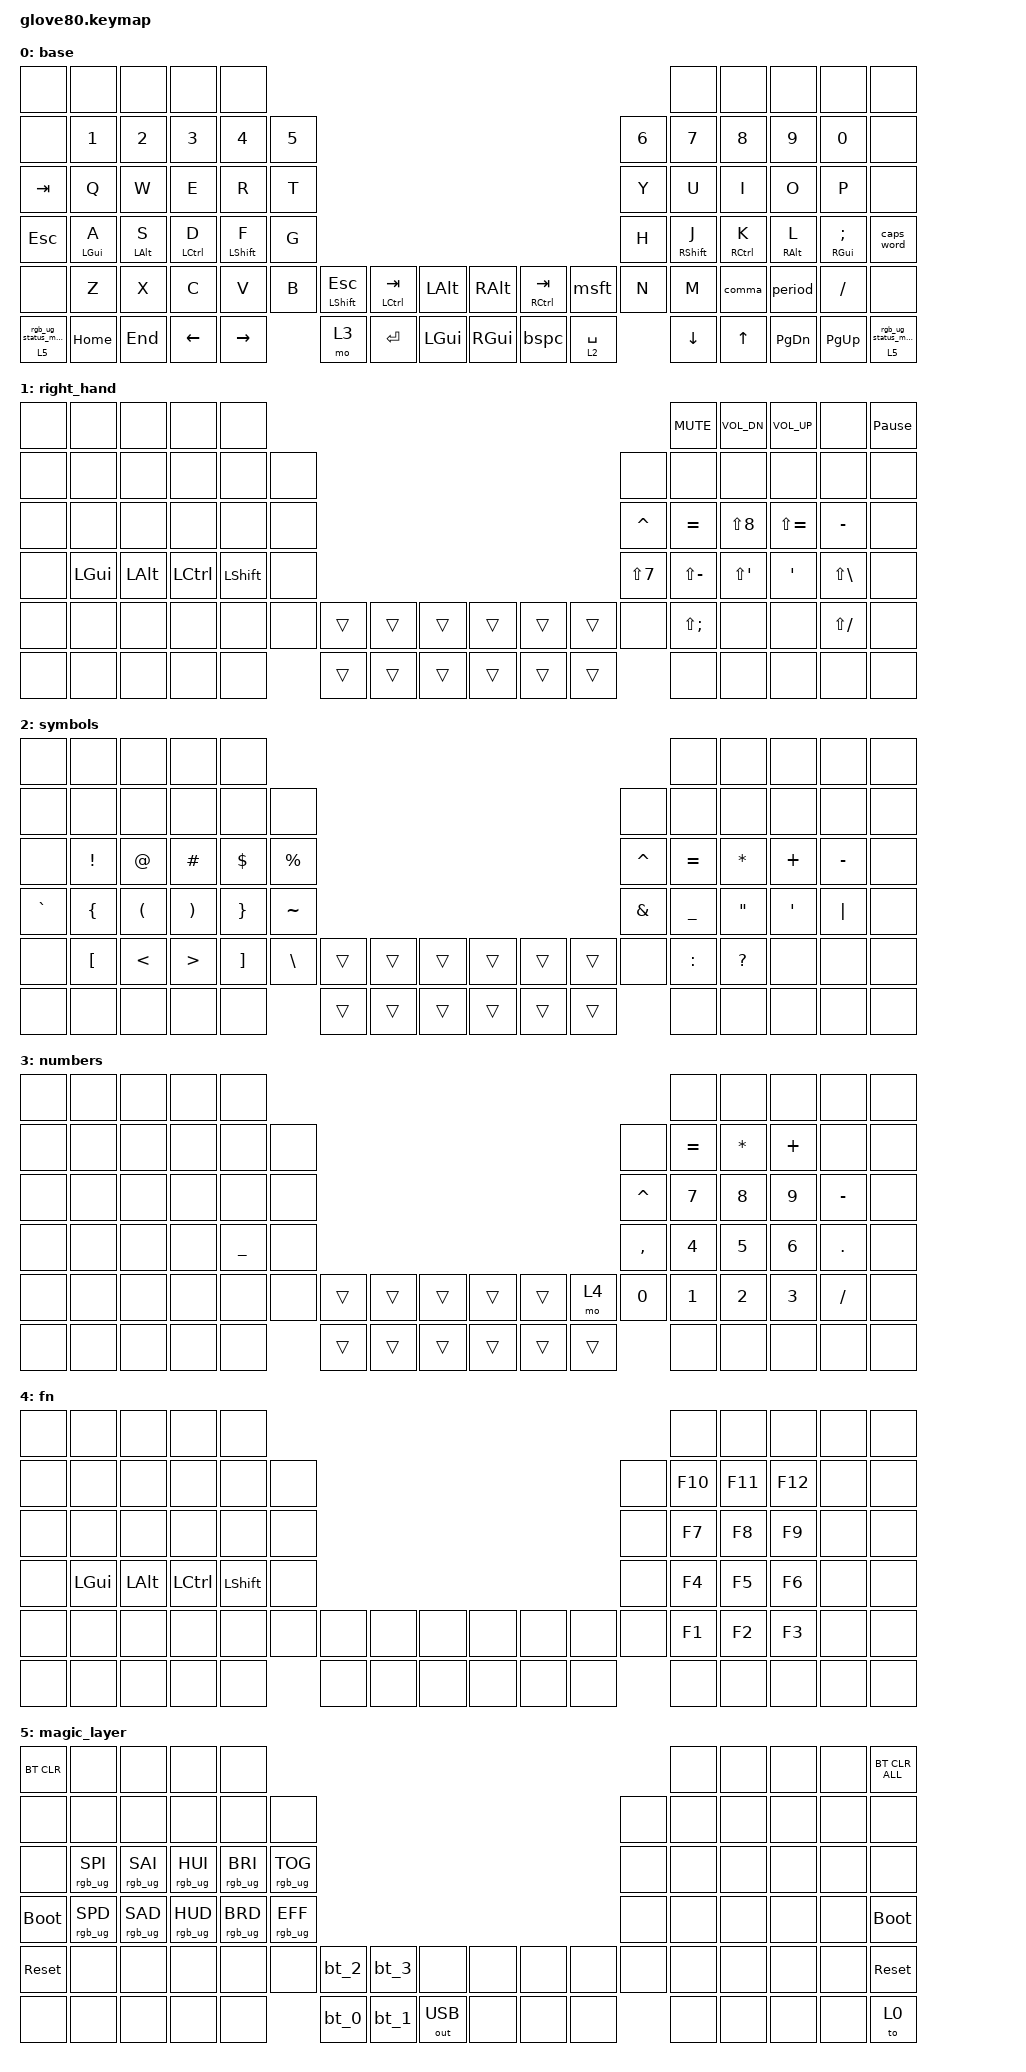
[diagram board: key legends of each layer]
#include <behaviors.dtsi>
#include <dt-bindings/zmk/bt.h>
#include <dt-bindings/zmk/keys.h>
#include <dt-bindings/zmk/outputs.h>
#include <dt-bindings/zmk/rgb.h>

/* Empty Layer Template
layer_name {
    bindings = <
    &none &none &none &none &none                                                 &none &none &none &none &none
    &none &none &none &none &none &none                                     &none &none &none &none &none &none
    &none &none &none &none &none &none                                     &none &none &none &none &none &none
    &none &none &none &none &none &none                                     &none &none &none &none &none &none
    &none &none &none &none &none &none &none &none &none &none &none &none &none &none &none &none &none &none
    &none &none &none &none &none       &none &none &none &none &none &none &none &none &none &none &none
    >;
};
*/
// Glove80 key positions index for positional hold-tap
// - https://discord.com/channels/877392805654306816/937645688244826154/1066713913351221248
// - https://media.discordapp.net/attachments/937645688244826154/1066713913133121556/image.png
//
// |------------------------|------------------------|
// | LEFT_HAND_KEYS         |        RIGHT_HAND_KEYS |
// |                        |                        |
// |  0  1  2  3  4         |          5  6  7  8  9 |
// | 10 11 12 13 14 15      |      16 17 18 19 20 21 |
// | 22 23 24 25 26 27      |      28 29 30 31 32 33 |
// | 34 35 36 37 38 39      |      40 41 42 43 44 45 |
// | 46 47 48 49 50 51      |      58 59 60 61 62 63 |
// | 64 65 66 67 68         |         75 76 77 78 79 |
// |                69 52   |   57 74                |
// |                 70 53  |  56 73                 |
// |                  71 54 | 55 72                  |
// |------------------------|------------------------|
//

#define LEFT_HAND_KEYS      \
      0  1  2  3  4         \
      10 11 12 13 14 15      \
      22 23 24 25 26 27      \
      34 35 36 37 38 39      \
      46 47 48 49 50 51      \
      64 65 66 67 68
#define THUMB_KEYS          \
                    69 52       57 74                \
                      70 53     56 73                 \
                      71 54   55 72
#define RIGHT_HAND_KEYS     \
                                      5  6  7  8  9 \
                                  16 17 18 19 20 21 \
                                  28 29 30 31 32 33 \
                                  40 41 42 43 44 45 \
                                  58 59 60 61 62 63 \
                                    75 76 77 78 79
#define LEADER LC(LG(LALT))

// layers

#define LBASE 0
#define LRHS 1
#define LLHS 2
#define LNUM 3
#define MAGIC 4
#define FACTORY_TEST 5

&caps_word { mods = <(MOD_LSFT|MOD_RSFT)>; };

/ {
    behaviors {
        magic: magic_hold_tap {
            compatible = "zmk,behavior-hold-tap";
            label = "MAGIC_HOLD_TAP";
            #binding-cells = <2>;
            flavor = "tap-preferred";
            tapping-term-ms = <200>;
            bindings = <&mo>, <&rgb_ug_status_macro>;
        };

        lhs_tap: left_hand_layer_tap {
            compatible = "zmk,behavior-hold-tap";
            #binding-cells = <2>;
            flavor = "tap-preferred";
            tapping-term-ms = <180>;
            bindings = <&mo>, <&kp>;
        };

        lhm: left_homerow_mod {
            compatible = "zmk,behavior-hold-tap";
            #binding-cells = <2>;
            flavor = "balanced";
            tapping-term-ms = <170>;
            quick-tap-ms = <170>;
            require-prior-idle-ms = <125>;
            bindings = <&kp>, <&kp>;

            hold-trigger-key-positions = <RIGHT_HAND_KEYS THUMB_KEYS>;
        };

        lhmi: left_homerow_mod_index_finger {
            compatible = "zmk,behavior-hold-tap";
            #binding-cells = <2>;
            flavor = "balanced";
            tapping-term-ms = <170>;
            quick-tap-ms = <170>;
            bindings = <&kp>, <&kp>;

            hold-trigger-key-positions = <RIGHT_HAND_KEYS THUMB_KEYS>;
        };

        lhmm: left_homerow_mod_middle_finger {
            compatible = "zmk,behavior-hold-tap";
            #binding-cells = <2>;
            flavor = "tap-preferred";
            tapping-term-ms = <200>;
            quick-tap-ms = <200>;
            require-prior-idle-ms = <125>;
            bindings = <&kp>, <&kp>;

            hold-trigger-key-positions = <RIGHT_HAND_KEYS THUMB_KEYS>;
        };

        lhmr: left_homerow_mod_ring_finger {
            compatible = "zmk,behavior-hold-tap";
            #binding-cells = <2>;
            flavor = "tap-preferred";
            tapping-term-ms = <200>;
            quick-tap-ms = <200>;
            require-prior-idle-ms = <125>;
            bindings = <&kp>, <&kp>;

            hold-trigger-key-positions = <RIGHT_HAND_KEYS THUMB_KEYS>;
        };

        lhmp: left_homerow_mod_pinky_finger {
            compatible = "zmk,behavior-hold-tap";
            #binding-cells = <2>;
            flavor = "tap-preferred";
            tapping-term-ms = <200>;
            quick-tap-ms = <200>;
            require-prior-idle-ms = <125>;
            bindings = <&kp>, <&kp>;

            hold-trigger-key-positions = <RIGHT_HAND_KEYS THUMB_KEYS>;
        };

        rhm: right_homerow_mod {
            compatible = "zmk,behavior-hold-tap";
            #binding-cells = <2>;
            flavor = "balanced";
            tapping-term-ms = <170>;
            quick-tap-ms = <170>;
            require-prior-idle-ms = <125>;
            bindings = <&kp>, <&kp>;

            hold-trigger-key-positions = <LEFT_HAND_KEYS THUMB_KEYS>;
        };

        rhmi: right_homerow_mod_index_finger {
            compatible = "zmk,behavior-hold-tap";
            #binding-cells = <2>;
            flavor = "balanced";
            tapping-term-ms = <170>;
            quick-tap-ms = <170>;
            bindings = <&kp>, <&kp>;

            hold-trigger-key-positions = <LEFT_HAND_KEYS THUMB_KEYS>;
        };

        rhmm: right_homerow_mod_middle_finger {
            compatible = "zmk,behavior-hold-tap";
            #binding-cells = <2>;
            flavor = "tap-preferred";
            tapping-term-ms = <200>;
            quick-tap-ms = <200>;
            require-prior-idle-ms = <125>;
            bindings = <&kp>, <&kp>;

            hold-trigger-key-positions = <LEFT_HAND_KEYS THUMB_KEYS>;
        };

        rhmr: right_homerow_mod_ring_finger {
            compatible = "zmk,behavior-hold-tap";
            #binding-cells = <2>;
            flavor = "tap-preferred";
            tapping-term-ms = <200>;
            quick-tap-ms = <200>;
            require-prior-idle-ms = <125>;
            bindings = <&kp>, <&kp>;

            hold-trigger-key-positions = <LEFT_HAND_KEYS THUMB_KEYS>;
        };

        rhmp: right_homerow_mod_pinky_finger {
            compatible = "zmk,behavior-hold-tap";
            #binding-cells = <2>;
            flavor = "tap-preferred";
            tapping-term-ms = <200>;
            quick-tap-ms = <200>;
            require-prior-idle-ms = <125>;
            bindings = <&kp>, <&kp>;

            hold-trigger-key-positions = <LEFT_HAND_KEYS THUMB_KEYS>;
        };

        msft: multi_shift {
            compatible = "zmk,behavior-tap-dance";
            #binding-cells = <0>;
            tapping-term-ms = <250>;
            bindings = <&kp RIGHT_SHIFT>, <&kp CAPSLOCK>;
        };

        mt250: mod_tap_250 {
            compatible = "zmk,behavior-hold-tap";
            #binding-cells = <2>;
            tapping-term-ms = <250>;
            bindings = <&kp>, <&kp>;
        };

        bspc: backspace_delete {
            compatible = "zmk,behavior-mod-morph";
            label = "BACKSPACE_DELETE";
            bindings = <&kp BACKSPACE>, <&kp DELETE>;

            #binding-cells = <0>;
            mods = <(MOD_LSFT|MOD_RSFT)>;
        };

        comma: comma {
            compatible = "zmk,behavior-mod-morph";
            label = "COMMA";
            bindings = <&kp COMMA>, <&kp SQT>;

            #binding-cells = <0>;
            mods = <(MOD_LSFT|MOD_RSFT)>;
        };

        period: period {
            compatible = "zmk,behavior-mod-morph";
            label = "PERIOD";
            bindings = <&kp PERIOD>, <&kp DQT>;

            #binding-cells = <0>;
            mods = <(MOD_LSFT|MOD_RSFT)>;
        };
    };

    macros {
        rgb_ug_status_macro: rgb_ug_status_macro_0 {
            label = "RGB_UG_STATUS";
            compatible = "zmk,behavior-macro";
            #binding-cells = <0>;
            bindings = <&rgb_ug RGB_STATUS>;
        };

        bt_0: bt_profile_macro_0 {
            label = "BT_0";
            compatible = "zmk,behavior-macro";
            #binding-cells = <0>;
            bindings = <&out OUT_BLE &bt BT_SEL 0>;
        };

        bt_1: bt_profile_macro_1 {
            label = "BT_1";
            compatible = "zmk,behavior-macro";
            #binding-cells = <0>;
            bindings = <&out OUT_BLE &bt BT_SEL 1>;
        };

        bt_2: bt_profile_macro_2 {
            label = "BT_2";
            compatible = "zmk,behavior-macro";
            #binding-cells = <0>;
            bindings = <&out OUT_BLE &bt BT_SEL 2>;
        };

        bt_3: bt_profile_macro_3 {
            label = "BT_3";
            compatible = "zmk,behavior-macro";
            #binding-cells = <0>;
            bindings = <&out OUT_BLE &bt BT_SEL 3>;
        };
    };

    keymap {
        compatible = "zmk,keymap";

        base {
            bindings = <
&none       &none         &none         &none          &none                                                                                                                &none          &none          &none              &none                      &none
&none       &kp N1        &kp N2        &kp N3         &kp N4         &kp N5                                                                                        &kp N6  &kp N7         &kp N8         &kp N9             &kp N0                     &none
&kp TAB     &kp Q         &kp W         &kp E          &kp R          &kp T                                                                                         &kp Y   &kp U          &kp I          &kp O              &kp P                      &none
&kp ESC     &lhmp LGUI A  &lhmr LALT S  &lhmm LCTRL D  &lhmi LSHFT F  &kp G                                                                                         &kp H   &rhmi RSHFT J  &rhmm RCTRL K  &rhmr RIGHT_ALT L  &rhmp RIGHT_GUI SEMICOLON  &caps_word
&none       &kp Z         &kp X         &kp C          &kp V          &kp B   &mt LSHIFT ESC  &mt LCTRL TAB  &kp LALT    &kp RALT  &mt RCTRL TAB  &msft             &kp N   &kp M          &comma         &period            &kp SLASH                  &none
&magic 5 0  &kp HOME      &kp END       &kp LEFT       &kp RIGHT              &mo 3           &kp ENTER      &kp LGUI    &kp RGUI  &bspc          &lhs_tap 2 SPACE          &kp DOWN       &kp UP         &kp PAGE_DOWN      &kp PG_UP                  &magic 5 0
            >;
        };

        right_hand {
            bindings = <
&none  &none     &none     &none      &none                                                                           &kp C_MUTE         &kp C_VOL_DN  &kp C_VOL_UP   &none          &kp PAUSE_BREAK
&none  &none     &none     &none      &none      &none                                                    &none       &none              &none         &none          &none          &none
&none  &none     &none     &none      &none      &none                                                    &kp CARET   &kp EQUAL          &kp LS(N8)    &kp LS(EQUAL)  &kp MINUS      &none
&none  &kp LGUI  &kp LALT  &kp LCTRL  &kp LSHFT  &none                                                    &kp LS(N7)  &kp LS(MINUS)      &kp LS(SQT)   &kp SQT        &kp LS(BSLH)   &none
&none  &none     &none     &none      &none      &none  &trans  &trans  &trans    &trans  &trans  &trans  &none       &kp LS(SEMICOLON)  &none         &none          &kp LS(SLASH)  &none
&none  &none     &none     &none      &none             &trans  &trans  &trans    &trans  &trans  &trans              &none              &none         &none          &none          &none
            >;
        };

        symbols {
            bindings = <
&none      &none     &none     &none     &none                                                                             &none      &none         &none     &none      &none
&none      &none     &none     &none     &none     &none                                                        &none      &none      &none         &none     &none      &none
&none      &kp EXCL  &kp AT    &kp HASH  &kp DLLR  &kp PRCNT                                                    &kp CARET  &kp EQUAL  &kp ASTERISK  &kp PLUS  &kp MINUS  &none
&kp GRAVE  &kp LBRC  &kp LPAR  &kp RPAR  &kp RBRC  &kp TILDE                                                    &kp AMPS   &kp UNDER  &kp DQT       &kp SQT   &kp PIPE   &none
&none      &kp LBKT  &kp LT    &kp GT    &kp RBKT  &kp BSLH   &trans  &trans  &trans    &trans  &trans  &trans  &none      &kp COLON  &kp QMARK     &none     &none      &none
&none      &none     &none     &none     &none                &trans  &trans  &trans    &trans  &trans  &trans             &none      &none         &none     &none      &none
            >;
        };

        numbers {
            bindings = <
&none  &none  &none  &none  &none                                                                          &none      &none     &none     &none      &none
&none  &none  &none  &none  &none      &none                                                    &none      &kp EQUAL  &kp STAR  &kp PLUS  &none      &none
&none  &none  &none  &none  &none      &none                                                    &kp CARET  &kp N7     &kp N8    &kp N9    &kp MINUS  &none
&none  &none  &none  &none  &kp UNDER  &none                                                    &kp COMMA  &kp N4     &kp N5    &kp N6    &kp DOT    &none
&none  &none  &none  &none  &none      &none  &trans  &trans  &trans    &trans  &trans  &mo 4   &kp N0     &kp N1     &kp N2    &kp N3    &kp FSLH   &none
&none  &none  &none  &none  &none             &trans  &trans  &trans    &trans  &trans  &trans             &none      &none     &none     &none      &none
            >;
        };

        fn {
            bindings = <
&none  &none     &none         &none      &none                                                                &none    &none    &none    &none  &none
&none  &none     &none         &none      &none      &none                                              &none  &kp F10  &kp F11  &kp F12  &none  &none
&none  &none     &none         &none      &none      &none                                              &none  &kp F7   &kp F8   &kp F9   &none  &none
&none  &kp LGUI  &kp LEFT_ALT  &kp LCTRL  &kp LSHFT  &none                                              &none  &kp F4   &kp F5   &kp F6   &none  &none
&none  &none     &none         &none      &none      &none  &none  &none  &none    &none  &none  &none  &none  &kp F1   &kp F2   &kp F3   &none  &none
&none  &none     &none         &none      &none             &none  &none  &none    &none  &none  &none         &none    &none    &none    &none  &none
            >;
        };

        magic_layer {
            bindings = <
&bt BT_CLR   &none            &none            &none            &none                                                                                       &none  &none  &none  &none  &bt BT_CLR_ALL
&none        &none            &none            &none            &none            &none                                                               &none  &none  &none  &none  &none  &none
&none        &rgb_ug RGB_SPI  &rgb_ug RGB_SAI  &rgb_ug RGB_HUI  &rgb_ug RGB_BRI  &rgb_ug RGB_TOG                                                     &none  &none  &none  &none  &none  &none
&bootloader  &rgb_ug RGB_SPD  &rgb_ug RGB_SAD  &rgb_ug RGB_HUD  &rgb_ug RGB_BRD  &rgb_ug RGB_EFF                                                     &none  &none  &none  &none  &none  &bootloader
&sys_reset   &none            &none            &none            &none            &none            &bt_2  &bt_3  &none           &none  &none  &none  &none  &none  &none  &none  &none  &sys_reset
&none        &none            &none            &none            &none                             &bt_0  &bt_1  &out OUT_USB    &none  &none  &none         &none  &none  &none  &none  &to 0
            >;
        };
    };
};
